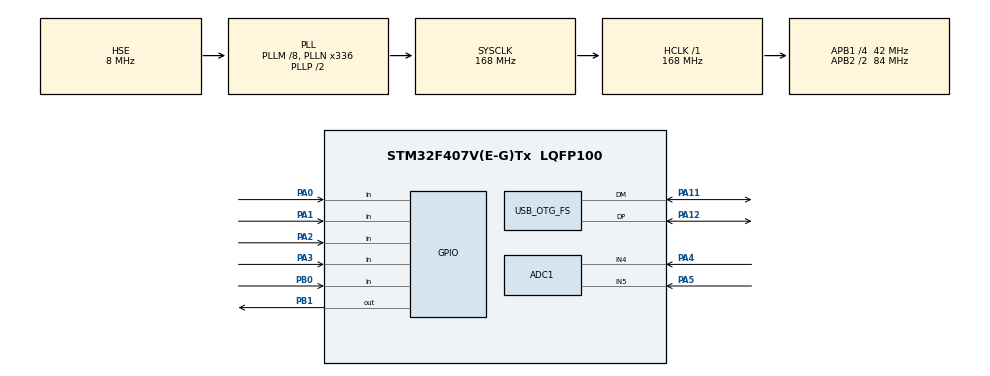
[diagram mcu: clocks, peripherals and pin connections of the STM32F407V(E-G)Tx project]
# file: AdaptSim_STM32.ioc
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ADC1.Channel-0\#ChannelRegularConversion=ADC_CHANNEL_4
ADC1.Channel-1\#ChannelRegularConversion=ADC_CHANNEL_5
ADC1.ContinuousConvMode=ENABLE
ADC1.NbrOfConversion=2
ADC1.NbrOfConversionFlag=1
ADC1.Rank-0\#ChannelRegularConversion=1
ADC1.Rank-1\#ChannelRegularConversion=2
ADC1.SamplingTime-0\#ChannelRegularConversion=ADC_SAMPLETIME_3CYCLES
ADC1.SamplingTime-1\#ChannelRegularConversion=ADC_SAMPLETIME_3CYCLES
ADC1.ScanConvMode=ENABLE
ADC1.master=1
Mcu.Family=STM32F4
Mcu.Name=STM32F407V(E-G)Tx
Mcu.Package=LQFP100
NVIC.OTG_FS_IRQn=true\:0\:0\:false\:false\:true\:false\:true\:true
NVIC.PriorityGroup=NVIC_PRIORITYGROUP_4
PA0-WKUP.GPIO_PuPd=GPIO_PULLUP
PA0-WKUP.Signal=GPIO_Input
PA1.GPIO_PuPd=GPIO_PULLUP
PA1.Signal=GPIO_Input
PA11.Mode=Device_Only
PA11.Signal=USB_OTG_FS_DM
PA12.Mode=Device_Only
PA12.Signal=USB_OTG_FS_DP
PA13.Mode=Serial_Wire
PA13.Signal=SYS_JTMS-SWDIO
PA14.Mode=Serial_Wire
PA14.Signal=SYS_JTCK-SWCLK
PA2.GPIO_PuPd=GPIO_PULLUP
PA2.Signal=GPIO_Input
PA3.GPIO_PuPd=GPIO_PULLUP
PA3.Signal=GPIO_Input
PA4.Signal=ADCx_IN4
PA5.Signal=ADCx_IN5
PB0.Signal=GPIO_Input
PB1.Signal=GPIO_Output
PH0-OSC_IN.Mode=HSE-External-Oscillator
PH0-OSC_IN.Signal=RCC_OSC_IN
PH1-OSC_OUT.Mode=HSE-External-Oscillator
PH1-OSC_OUT.Signal=RCC_OSC_OUT
ProjectManager.HeapSize=0x200
ProjectManager.StackSize=0x400
ProjectManager.TargetToolchain=STM32CubeIDE
RCC.48MHZClocksFreq_Value=48000000
RCC.AHBFreq_Value=168000000
RCC.APB1CLKDivider=RCC_HCLK_DIV4
RCC.APB1Freq_Value=42000000
RCC.APB1TimFreq_Value=84000000
RCC.APB2CLKDivider=RCC_HCLK_DIV2
RCC.APB2Freq_Value=84000000
RCC.APB2TimFreq_Value=168000000
RCC.CortexFreq_Value=168000000
RCC.HCLKFreq_Value=168000000
RCC.HSE_VALUE=8000000
RCC.HSI_VALUE=16000000
RCC.LSE_VALUE=32768
RCC.PLLM=8
RCC.PLLN=336
RCC.PLLQ=7
RCC.SYSCLKFreq_VALUE=168000000
RCC.SYSCLKSource=RCC_SYSCLKSOURCE_PLLCLK
RCC.VCOOutputFreq_Value=336000000
SH.ADCx_IN4.0=ADC1_IN4,IN4
SH.ADCx_IN5.0=ADC1_IN5,IN5
USB_DEVICE.CLASS_NAME_FS=HID
USB_DEVICE.VirtualMode-HID_FS=Hid
USB_DEVICE.VirtualModeFS=Hid_FS
USB_OTG_FS.VirtualMode=Device_Only
VP_USB_DEVICE_VS_USB_DEVICE_HID_FS.Mode=HID_FS
board=custom

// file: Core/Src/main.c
/* USER CODE BEGIN Header */
/**
  ******************************************************************************
  * @file           : main.c
  * @brief          : Main program body
  ******************************************************************************
  */
/* USER CODE END Header */
#include "main.h"
#include "usb_device.h"

/* USER CODE BEGIN Includes */
#include <stdio.h>
#include <string.h>
#include "usbd_hid.h"
/* USER CODE END Includes */

ADC_HandleTypeDef hadc1;

void SystemClock_Config(void);
static void MX_GPIO_Init(void);
static void MX_ADC1_Init(void);

/* USER CODE BEGIN 0 */
extern USBD_HandleTypeDef hUsbDeviceFS;

typedef struct __attribute__((packed))
{
  uint16_t throttle;
  uint16_t brake;
  uint16_t clutch;
  uint32_t buttons;
} SimHID_Report_t;

#define THROTTLE_MIN 2190
#define THROTTLE_MAX 3150

#define CLUTCH_MIN   2180
#define CLUTCH_MAX   1494

#define BRAKE_MIN    22000
#define BRAKE_MAX    600000

static int32_t clamp_i32(int32_t value, int32_t min, int32_t max)
{
  if (value < min) return min;
  if (value > max) return max;
  return value;
}

static uint32_t read_adc_channel(uint32_t channel)
{
  ADC_ChannelConfTypeDef sConfig = {0};

  sConfig.Channel = channel;
  sConfig.Rank = 1;
  sConfig.SamplingTime = ADC_SAMPLETIME_15CYCLES;

  HAL_ADC_ConfigChannel(&hadc1, &sConfig);
  HAL_ADC_Start(&hadc1);
  HAL_ADC_PollForConversion(&hadc1, 10);
  uint32_t value = HAL_ADC_GetValue(&hadc1);
  HAL_ADC_Stop(&hadc1);

  return value;
}

static void hx711_delay(void)
{
  for (volatile int i = 0; i < 80; i++);
}

static int32_t hx711_read(void)
{
  int timeout = 1000000;

  while (HAL_GPIO_ReadPin(GPIOB, GPIO_PIN_0) == GPIO_PIN_SET)
  {
    if (--timeout == 0)
      return 0;
  }

  int32_t count = 0;

  for (uint8_t i = 0; i < 24; i++)
  {
    HAL_GPIO_WritePin(GPIOB, GPIO_PIN_1, GPIO_PIN_SET);
    hx711_delay();

    count <<= 1;
    if (HAL_GPIO_ReadPin(GPIOB, GPIO_PIN_0) == GPIO_PIN_SET)
      count++;

    HAL_GPIO_WritePin(GPIOB, GPIO_PIN_1, GPIO_PIN_RESET);
    hx711_delay();
  }

  // Gain 128, Channel A
  HAL_GPIO_WritePin(GPIOB, GPIO_PIN_1, GPIO_PIN_SET);
  hx711_delay();

  HAL_GPIO_WritePin(GPIOB, GPIO_PIN_1, GPIO_PIN_RESET);
  hx711_delay();

  if (count & 0x800000)
    count |= 0xFF000000;

  return count;
}

/* USER CODE END 0 */

int main(void)
{

  /* MCU Configuration--------------------------------------------------------*/

  /* Reset of all peripherals, Initializes the Flash interface and the Systick. */
  HAL_Init();

  /* Configure the system clock */
  SystemClock_Config();

  /* Initialize all configured peripherals */
  MX_GPIO_Init();
  MX_USB_DEVICE_Init();
  MX_ADC1_Init();

  /* Infinite loop */
  while (1)
  {

    /* USER CODE BEGIN 3 */

	  uint32_t clutchRaw   = read_adc_channel(ADC_CHANNEL_4);
	  uint32_t throttleRaw = read_adc_channel(ADC_CHANNEL_5);
	  static int32_t brakeRaw = BRAKE_MIN;
	  static uint32_t lastBrakeRead = 0;

	  if (HAL_GetTick() - lastBrakeRead >= 80)
	  {
	    int32_t newBrakeRaw = hx711_read();

	    if (newBrakeRaw != 0)
	    {
	      brakeRaw = newBrakeRaw;
	    }

	    lastBrakeRead = HAL_GetTick();
	  }

	  uint16_t throttleAxis =
	      (uint16_t)clamp_i32(
	          ((int32_t)throttleRaw - THROTTLE_MIN) * 32767 /
	          (THROTTLE_MAX - THROTTLE_MIN),
	          0, 32767);

	  uint16_t clutchAxis =
	      (uint16_t)clamp_i32(
	          (CLUTCH_MIN - (int32_t)clutchRaw) * 32767 /
	          (CLUTCH_MIN - CLUTCH_MAX),
	          0, 32767);

	  static int32_t brakeFiltered = BRAKE_MIN;

	  brakeFiltered = (brakeFiltered * 7 + brakeRaw) / 8;

	  uint16_t brakeAxis =
	      (uint16_t)clamp_i32(
	          (int32_t)(((int64_t)brakeFiltered - BRAKE_MIN) * 32767 /
	          (BRAKE_MAX - BRAKE_MIN)),
	          0, 32767);

	  if (brakeAxis < 500)
	      brakeAxis = 0;

	  uint8_t left  = HAL_GPIO_ReadPin(GPIOA, GPIO_PIN_0) == GPIO_PIN_RESET;
	  uint8_t right = HAL_GPIO_ReadPin(GPIOA, GPIO_PIN_1) == GPIO_PIN_RESET;
	  uint8_t fore  = HAL_GPIO_ReadPin(GPIOA, GPIO_PIN_2) == GPIO_PIN_RESET;
	  uint8_t aft   = HAL_GPIO_ReadPin(GPIOA, GPIO_PIN_3) == GPIO_PIN_RESET;

	  uint32_t buttons = 0;

	  if (right && aft)           buttons |= (1UL << 0);  // Gear 1
	  else if (right && fore)     buttons |= (1UL << 1);  // Gear 2
	  else if (!left && !right && aft)  buttons |= (1UL << 2);  // Gear 3
	  else if (!left && !right && fore) buttons |= (1UL << 3);  // Gear 4
	  else if (left && aft)       buttons |= (1UL << 4);  // Gear 5
	  else if (left && fore)      buttons |= (1UL << 5);  // Gear 6

	  SimHID_Report_t report;

	  report.throttle = throttleAxis;
	  report.brake = brakeAxis;
	  report.clutch   = clutchAxis;
	  report.buttons  = buttons;

	  USBD_HID_SendReport(&hUsbDeviceFS, (uint8_t *)&report, sizeof(report));

	  HAL_Delay(10);
  }
  /* USER CODE END 3 */
}

void SystemClock_Config(void)
{
  RCC_OscInitTypeDef RCC_OscInitStruct = {0};
  RCC_ClkInitTypeDef RCC_ClkInitStruct = {0};

  /** Configure the main internal regulator output voltage
  */
  __HAL_RCC_PWR_CLK_ENABLE();
  __HAL_PWR_VOLTAGESCALING_CONFIG(PWR_REGULATOR_VOLTAGE_SCALE1);

  /** Initializes the RCC Oscillators according to the specified parameters
  * in the RCC_OscInitTypeDef structure.
  */
  RCC_OscInitStruct.OscillatorType = RCC_OSCILLATORTYPE_HSE;
  RCC_OscInitStruct.HSEState = RCC_HSE_ON;
  RCC_OscInitStruct.PLL.PLLState = RCC_PLL_ON;
  RCC_OscInitStruct.PLL.PLLSource = RCC_PLLSOURCE_HSE;
  RCC_OscInitStruct.PLL.PLLM = 8;
  RCC_OscInitStruct.PLL.PLLN = 336;
  RCC_OscInitStruct.PLL.PLLP = RCC_PLLP_DIV2;
  RCC_OscInitStruct.PLL.PLLQ = 7;
  if (HAL_RCC_OscConfig(&RCC_OscInitStruct) != HAL_OK)
  {
    Error_Handler();
  }

  /** Initializes the CPU, AHB and APB buses clocks
  */
  RCC_ClkInitStruct.ClockType = RCC_CLOCKTYPE_HCLK|RCC_CLOCKTYPE_SYSCLK
                              |RCC_CLOCKTYPE_PCLK1|RCC_CLOCKTYPE_PCLK2;
  RCC_ClkInitStruct.SYSCLKSource = RCC_SYSCLKSOURCE_PLLCLK;
  RCC_ClkInitStruct.AHBCLKDivider = RCC_SYSCLK_DIV1;
  RCC_ClkInitStruct.APB1CLKDivider = RCC_HCLK_DIV4;
  RCC_ClkInitStruct.APB2CLKDivider = RCC_HCLK_DIV2;

  if (HAL_RCC_ClockConfig(&RCC_ClkInitStruct, FLASH_LATENCY_5) != HAL_OK)
  {
    Error_Handler();
  }
}

static void MX_ADC1_Init(void)
{

  ADC_ChannelConfTypeDef sConfig = {0};

  /** Configure the global features of the ADC (Clock, Resolution, Data Alignment and number of conversion)
  */
  hadc1.Instance = ADC1;
  hadc1.Init.ClockPrescaler = ADC_CLOCK_SYNC_PCLK_DIV4;
  hadc1.Init.Resolution = ADC_RESOLUTION_12B;
  hadc1.Init.ScanConvMode = ENABLE;
  hadc1.Init.ContinuousConvMode = ENABLE;
  hadc1.Init.DiscontinuousConvMode = DISABLE;
  hadc1.Init.ExternalTrigConvEdge = ADC_EXTERNALTRIGCONVEDGE_NONE;
  hadc1.Init.ExternalTrigConv = ADC_SOFTWARE_START;
  hadc1.Init.DataAlign = ADC_DATAALIGN_RIGHT;
  hadc1.Init.NbrOfConversion = 2;
  hadc1.Init.DMAContinuousRequests = DISABLE;
  hadc1.Init.EOCSelection = ADC_EOC_SINGLE_CONV;
  if (HAL_ADC_Init(&hadc1) != HAL_OK)
  {
    Error_Handler();
  }

  /** Configure for the selected ADC regular channel its corresponding rank in the sequencer and its sample time.
  */
  sConfig.Channel = ADC_CHANNEL_4;
  sConfig.Rank = 1;
  sConfig.SamplingTime = ADC_SAMPLETIME_3CYCLES;
  if (HAL_ADC_ConfigChannel(&hadc1, &sConfig) != HAL_OK)
  {
    Error_Handler();
  }

  /** Configure for the selected ADC regular channel its corresponding rank in the sequencer and its sample time.
  */
  sConfig.Channel = ADC_CHANNEL_5;
  sConfig.Rank = 2;
  if (HAL_ADC_ConfigChannel(&hadc1, &sConfig) != HAL_OK)
  {
    Error_Handler();
  }

}

static void MX_GPIO_Init(void)
{
  GPIO_InitTypeDef GPIO_InitStruct = {0};

  /* GPIO Ports Clock Enable */
  __HAL_RCC_GPIOH_CLK_ENABLE();
  __HAL_RCC_GPIOA_CLK_ENABLE();
  __HAL_RCC_GPIOB_CLK_ENABLE();

  /*Configure GPIO pin Output Level */
  HAL_GPIO_WritePin(GPIOB, GPIO_PIN_1, GPIO_PIN_RESET);

  /*Configure GPIO pins : PA0 PA1 PA2 PA3 */
  GPIO_InitStruct.Pin = GPIO_PIN_0|GPIO_PIN_1|GPIO_PIN_2|GPIO_PIN_3;
  GPIO_InitStruct.Mode = GPIO_MODE_INPUT;
  GPIO_InitStruct.Pull = GPIO_PULLUP;
  HAL_GPIO_Init(GPIOA, &GPIO_InitStruct);

  /*Configure GPIO pin : PB0 */
  GPIO_InitStruct.Pin = GPIO_PIN_0;
  GPIO_InitStruct.Mode = GPIO_MODE_INPUT;
  GPIO_InitStruct.Pull = GPIO_NOPULL;
  HAL_GPIO_Init(GPIOB, &GPIO_InitStruct);

  /*Configure GPIO pin : PB1 */
  GPIO_InitStruct.Pin = GPIO_PIN_1;
  GPIO_InitStruct.Mode = GPIO_MODE_OUTPUT_PP;
  GPIO_InitStruct.Pull = GPIO_NOPULL;
  GPIO_InitStruct.Speed = GPIO_SPEED_FREQ_LOW;
  HAL_GPIO_Init(GPIOB, &GPIO_InitStruct);

}

void Error_Handler(void)
{
  __disable_irq();
  while (1)
  {
  }
}
